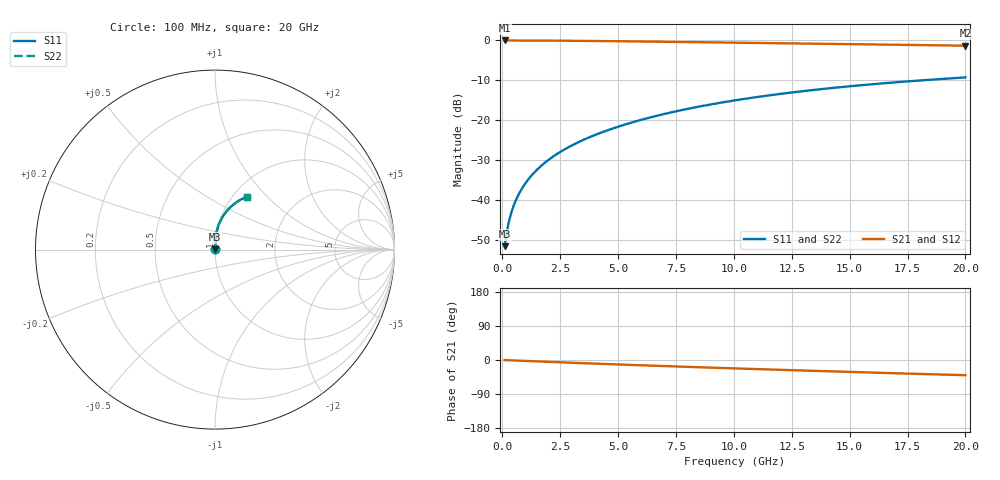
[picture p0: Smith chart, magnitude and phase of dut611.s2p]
! Touchstone file exported from HFSS 2024.1.0
!  File:  C:/UserFiles/LocalFiles/RDL_TSV_Batchsim/temp_RDL_top_611_1779779761.aedt
!  Generated:  03:18:30 PM May 26, 2026
!  Design:  RDL_top
!  Project:  temp_RDL_top_611_1779779761
!  Setup:  Setup1
!  Solution:  Sweep
! Variables:
!  dtsv = 10.80580581um
!  hbump = 3um
!  htsv = 82.94um
!  ldown = 100um
!  lrdl = 578.17um
!  p = 40
!  p1 = 52.72um
!  rhole = 1um
!  t = 450um
!  tdown = 3.915915916um
!  trdl = 4.86um
!  wdown = 15.38538539um
!  wrdl = 23.93um
# GHz S MA R 50.000000
! Terminal data exported
! Port[1] = Box2_T1
! Port[2] = Box2_T2
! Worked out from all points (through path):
!   200 points, 100 MHz to 20 GHz, reference 50 ohm
!   highest |S21| = -0.02 dB at 100 MHz (marker M1); lowest = -1.3 dB at 20 GHz (marker M2)
!   group delay of S21, straight-line fit = 5.51 ps
!   lowest |S11| = -51.7 dB at 100 MHz (marker M3), VSWR 1.01, Z = 50.2 + j0.175 ohm
!   |S11| at or under -10 dB: start of sweep to 18.17 GHz
!   |S22| runs from -51.7 to -9.3 dB; largest |S21 - S12| = 3.4e-15
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0.1  0.002613 42.0  0.998 -0.3  0.998 -0.3  0.002613 42.0
! Gamma 0 0 0 0
! Port Impedance 50 0 50 0
0.2  0.004012 59.2  0.9979 -0.5  0.9979 -0.5  0.004012 59.2
0.3  0.00553 66.7  0.9977 -0.8  0.9977 -0.8  0.00553 66.7
0.4  0.007051 70.8  0.9975 -1.0  0.9975 -1.0  0.007051 70.8
0.5  0.008561 73.6  0.9974 -1.2  0.9974 -1.2  0.00856 73.6
0.6  0.01006 75.6  0.9972 -1.5  0.9972 -1.5  0.01006 75.6
0.8  0.01308 78.4  0.9968 -2.0  0.9968 -2.0  0.01308 78.5
1.1  0.01764 81.1  0.9962 -2.7  0.9962 -2.7  0.01764 81.1
1.3  0.02072 82.3  0.9957 -3.2  0.9957 -3.2  0.02072 82.3
1.6  0.02539 83.6  0.9948 -3.9  0.9948 -3.9  0.02539 83.6
2.1  0.03331 84.9  0.993 -5.1  0.993 -5.1  0.03331 84.9
2.7  0.04302 85.7  0.9903 -6.6  0.9903 -6.6  0.04303 85.7
3.5  0.05636 86.0  0.9859 -8.4  0.9859 -8.4  0.05638 86.1
4.2  0.0684 85.9  0.9815 -10.0  0.9815 -10.0  0.06842 86.0
5  0.08253 85.4  0.976 -11.8  0.976 -11.8  0.08257 85.5
6.8  0.1155 83.5  0.9626 -15.7  0.9626 -15.7  0.1156 83.5
8.4  0.1457 81.0  0.9501 -18.9  0.9501 -18.9  0.1458 81.0
10.1  0.1777 77.9  0.9366 -22.3  0.9366 -22.3  0.1779 78.0
11.7  0.2074 74.9  0.9238 -25.4  0.9238 -25.4  0.2076 74.9
13.4  0.238 71.5  0.9102 -28.5  0.9102 -28.5  0.2382 71.6
16.7  0.2934 65.1  0.8839 -34.5  0.8839 -34.5  0.2937 65.2
20  0.3428 59.1  0.8579 -40.1  0.8579 -40.1  0.3432 59.1
